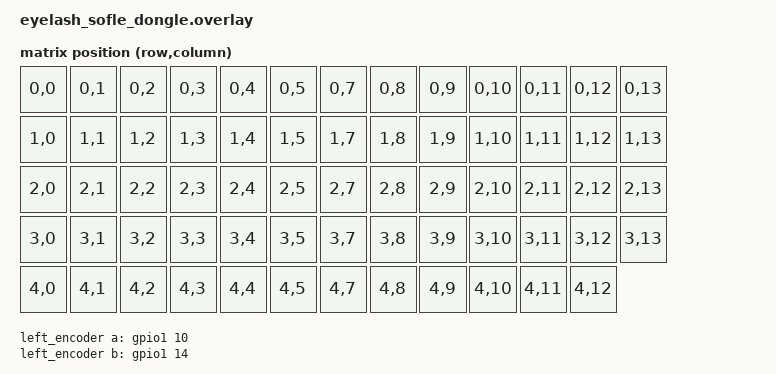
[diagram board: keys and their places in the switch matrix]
#include <dt-bindings/zmk/matrix_transform.h>
#include "eyelash_sofle-layouts.dtsi"

&eyelash_sofle_layout {
  transform = <&default_transform>;
};

/ {
    chosen {
        zmk,kscan = &mock_kscan;
        zmk,physical-layout = &eyelash_sofle_layout;
    };

    mock_kscan: mock_kscan_0 {
        compatible = "zmk,kscan-mock";
        columns = <0>;
        rows = <0>;
        events = <0>;
    };

    default_transform: keymap_transform_0 {
        compatible = "zmk,matrix-transform";
        columns = <14>;
        rows = <5>;
        map = <
            RC(0,0) RC(0,1) RC(0,2) RC(0,3) RC(0,4) RC(0,5)  RC(0,7) RC(0,8) RC(0,9) RC(0,10) RC(0,11) RC(0,12) RC(0,13)
            RC(1,0) RC(1,1) RC(1,2) RC(1,3) RC(1,4) RC(1,5)  RC(1,7) RC(1,8) RC(1,9) RC(1,10) RC(1,11) RC(1,12) RC(1,13)
            RC(2,0) RC(2,1) RC(2,2) RC(2,3) RC(2,4) RC(2,5)  RC(2,7) RC(2,8) RC(2,9) RC(2,10) RC(2,11) RC(2,12) RC(2,13)
            RC(3,0) RC(3,1) RC(3,2) RC(3,3) RC(3,4) RC(3,5)  RC(3,7) RC(3,8) RC(3,9) RC(3,10) RC(3,11) RC(3,12) RC(3,13)
            RC(4,0) RC(4,1) RC(4,2) RC(4,3) RC(4,4) RC(4,5)  RC(4,7) RC(4,8) RC(4,9) RC(4,10) RC(4,11) RC(4,12)
        >;
    };
	
  left_encoder: encoder_left {
		compatible = "alps,ec11";
		label = "LEFT_ENCODER";
		resolution = <4>;
        steps = <40>;
        a-gpios = <&gpio1 10 (GPIO_ACTIVE_HIGH | GPIO_PULL_UP)>;
	    b-gpios = <&gpio1 14 (GPIO_ACTIVE_HIGH | GPIO_PULL_UP)>;
		status = "disabled";
	};

    sensors {
		compatible = "zmk,keymap-sensors";
		sensors = <&left_encoder>;
   };
};
